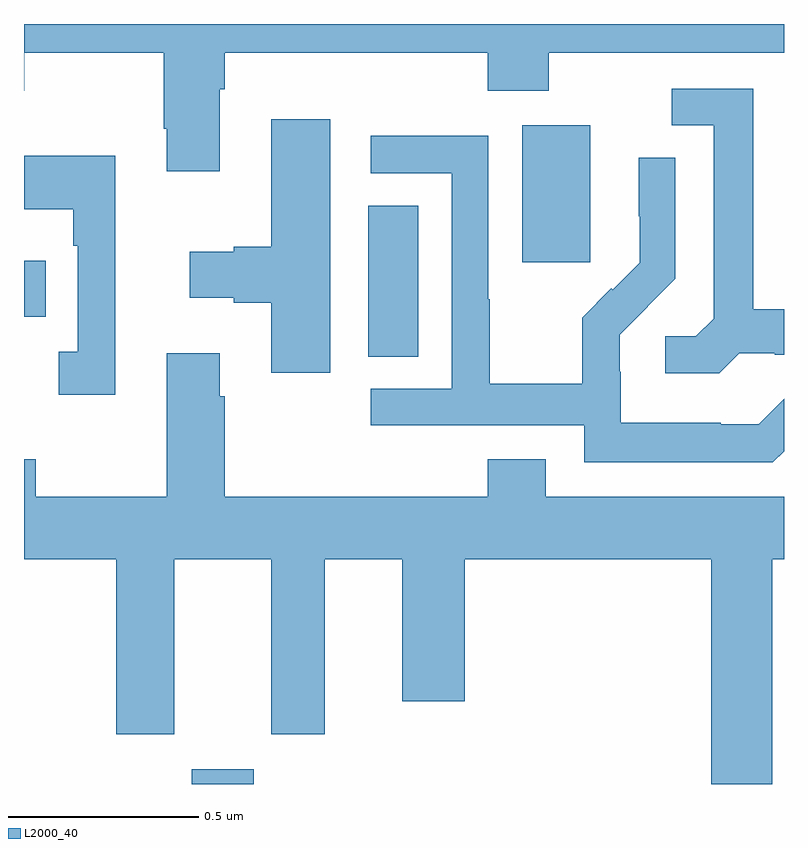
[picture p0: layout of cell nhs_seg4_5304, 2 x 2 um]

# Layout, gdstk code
import gdstk
lib = gdstk.Library(unit=1e-6, precision=1e-09)
def R(c, l, rs):  # rectangles x0, y0, x1, y1
    for r in rs: c.add(gdstk.rectangle(r[:2], r[2:], *l))
def P(c, l, *ps):  # polygons
    for p in ps: c.add(gdstk.Polygon(p, *l))
L2000_40 = (2000, 40)

nhs_seg4_5304 = lib.new_cell('nhs_seg4_5304')
R(nhs_seg4_5304, L2000_40, [(176.441,790.9,176.605,790.939), (176.906,792.025,177.037,792.422), (176,792.13,176.057,792.277), (177.311,792.273,177.49,792.634)])
P(nhs_seg4_5304, L2000_40, [(176.515,792.728),(176.528,792.728),(176.528,792.824),(177.221,792.824),(177.221,792.725),(177.381,792.725),(177.381,792.824),(178,792.824),(178,792.9),(176,792.9),(176,792.725),(176.001,792.725),(176.001,792.824),(176.368,792.824),(176.368,792.625),(176.375,792.625),(176.375,792.513),(176.515,792.513)],
  [(177.882,792.033),(177.976,792.033),(177.976,792.03),(178,792.03),(178,792.149),(177.919,792.149),(177.919,792.729),(177.705,792.729),(177.705,792.633),(177.815,792.633),(177.815,792.125),(177.768,792.078),(177.687,792.078),(177.687,791.981),(177.83,791.981)],
  [(176.806,792.649),(176.651,792.649),(176.651,792.314),(176.552,792.314),(176.552,792.301),(176.436,792.301),(176.436,792.179),(176.552,792.179),(176.552,792.167),(176.651,792.167),(176.651,791.982),(176.806,791.982)],
  [(178,791.776),(178,791.914),(177.933,791.847),(177.833,791.847),(177.833,791.851),(177.57,791.851),(177.57,791.985),(177.568,791.985),(177.568,792.082),(177.642,792.156),(177.641,792.157),(177.714,792.23),(177.714,792.548),(177.618,792.548),(177.618,792.394),(177.62,792.394),(177.62,792.272),(177.549,792.201),(177.546,792.204),(177.469,792.127),(177.469,791.953),(177.225,791.953),(177.225,792.176),(177.222,792.176),(177.222,792.606),(176.913,792.606),(176.913,792.507),(177.126,792.507),(177.126,791.94),(176.913,791.94),(176.913,791.844),(177.474,791.844),(177.474,791.747),(177.971,791.747)],
  [(176.24,792.553),(176,792.553),(176,792.413),(176.13,792.413),(176.13,792.317),(176.142,792.317),(176.142,792.038),(176.091,792.038),(176.091,791.925),(176.24,791.925)],
  [(177.969,791.492),(178,791.492),(178,791.656),(177.373,791.656),(177.373,791.755),(177.221,791.755),(177.221,791.656),(176.528,791.656),(176.528,791.921),(176.515,791.921),(176.515,792.034),(176.375,792.034),(176.375,791.656),(176.031,791.656),(176.031,791.755),(176,791.755),(176,791.492),(176.243,791.492),(176.243,791.031),(176.395,791.031),(176.395,791.492),(176.651,791.492),(176.651,791.031),(176.791,791.031),(176.791,791.492),(176.996,791.492),(176.996,791.118),(177.16,791.118),(177.16,791.492),(177.809,791.492),(177.809,790.9),(177.969,790.9)])

lib.write_gds('nhs_seg4_5304.gds')
